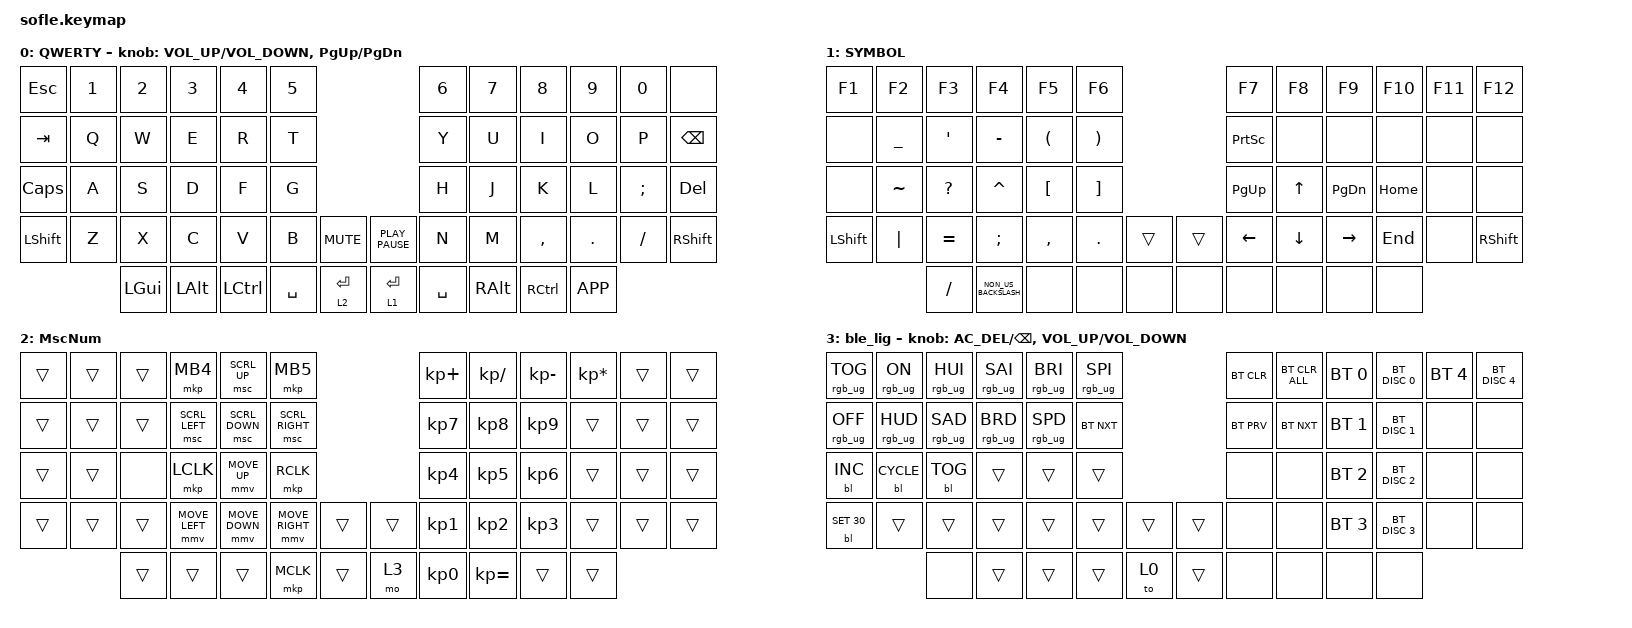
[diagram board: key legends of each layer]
/*
 * sofle.keymap
 *
 * Apenas definições de layers e bindings.
 * Hardware (underglow, backlight) → config/sofle.overlay
 * Kconfig                         → config/sofle.conf
 *
 * Controlador : SuperMini NRF52840 (nice_nano_v2 compat)
 * Shield      : Sofle RGB
 */

#include <dt-bindings/zmk/mouse.h>
#include <behaviors.dtsi>
#include <dt-bindings/zmk/backlight.h>
#include <dt-bindings/zmk/bt.h>
#include <dt-bindings/zmk/keys.h>
#include <dt-bindings/zmk/pointing.h>
#include <dt-bindings/zmk/rgb.h>

#define BASE 0
#define SYM  1
#define FUNC 2
#define MSE  3
#define ADJ  4

/ {
    keymap {
        compatible = "zmk,keymap";

        /* ── Layer 0 : QWERTY Base ─────────────────────────────── */

        layer_Qwerty {
            display-name = "QWERTY";
            bindings = <
&kp ESCAPE      &kp N1  &kp N2    &kp N3        &kp N4     &kp N5                                      &kp NUMBER_6  &kp N7     &kp N8     &kp N9      &kp N0         &none
&kp TAB         &kp Q   &kp W     &kp E         &kp R      &kp T                                       &kp Y         &kp U      &kp I      &kp O       &kp P          &kp BACKSPACE
&kp CLCK        &kp A   &kp S     &kp D         &kp F      &kp G                                       &kp H         &kp J      &kp K      &kp L       &kp SEMICOLON  &kp DEL
&kp LEFT_SHIFT  &kp Z   &kp X     &kp C         &kp V      &kp B      &kp C_MUTE     &kp K_PLAY_PAUSE  &kp N         &kp M      &kp COMMA  &kp PERIOD  &kp SLASH      &kp RIGHT_SHIFT
                        &kp LGUI  &kp LEFT_ALT  &kp LCTRL  &kp SPACE  &lt 2 ENTER    &lt 1 ENTER       &kp SPACE     &kp RALT  &kp RCTRL   &kp K_APP
            >;

            sensor-bindings =
                <&inc_dec_kp C_VOLUME_UP C_VOLUME_DOWN>,
                <&inc_dec_kp PAGE_UP PAGE_DOWN>;
        };

        /* ── Layer 1 : Symbols / Navigation ────────────────────── */

        layer_sym {
            display-name = "SYMBOL";
            bindings = <
&kp F1          &kp F2     &kp F3        &kp F4                &kp F5                &kp F6                                   &kp F7           &kp F8        &kp F9         &kp F10   &kp F11  &kp F12
&none           &kp UNDER  &kp SQT       &kp MINUS             &kp LEFT_PARENTHESIS  &kp RIGHT_PARENTHESIS                    &kp PRINTSCREEN  &none         &none          &none     &none    &none
&none           &kp TILDE  &kp QUESTION  &kp CARET             &kp LEFT_BRACKET      &kp RIGHT_BRACKET                        &kp PAGE_UP      &kp UP_ARROW  &kp PAGE_DOWN  &kp HOME  &none    &none
&kp LEFT_SHIFT  &kp PIPE   &kp EQUAL     &kp SEMICOLON         &kp COMMA             &kp PERIOD             &trans    &trans  &kp LEFT         &kp DOWN      &kp RIGHT      &kp END   &none    &kp RIGHT_SHIFT
                           &kp SLASH     &kp NON_US_BACKSLASH  &none                 &none                  &none     &none   &none            &none         &none          &none
            >;
        };

        /* ── Layer 2 : Mouse / Numpad ───────────────────────────── */

        layer_mscNum {
            display-name = "MscNum";
            bindings = <
&trans  &trans  &trans  &mkp MB4        &msc SCRL_UP    &mkp MB5                           &kp KP_PLUS      &kp KP_DIVIDE    &kp KP_SUBTRACT  &kp KP_MULTIPLY  &trans  &trans
&trans  &trans  &trans  &msc SCRL_LEFT  &msc SCRL_DOWN  &msc SCRL_RIGHT                    &kp KP_NUMBER_7  &kp KP_NUMBER_8  &kp KP_NUMBER_9  &trans           &trans  &trans
&trans  &trans  &none   &mkp LCLK       &mmv MOVE_UP    &mkp RCLK                          &kp KP_NUMBER_4  &kp KP_NUMBER_5  &kp KP_NUMBER_6  &trans           &trans  &trans
&trans  &trans  &trans  &mmv MOVE_LEFT  &mmv MOVE_DOWN  &mmv MOVE_RIGHT  &trans    &trans  &kp KP_NUMBER_1  &kp KP_NUMBER_2  &kp KP_NUMBER_3  &trans           &trans  &trans
                &trans  &trans          &trans          &mkp MCLK        &trans    &mo 3  &kp KP_NUMBER_0  &kp KP_EQUAL     &trans           &trans
            >;
        };

        /* ── Layer 3 : RGB / Bluetooth / Backlight ─────────────── */

        layer_bl_lg {
            display-name = "ble_lig";
            bindings = <
&rgb_ug RGB_TOG  &rgb_ug RGB_ON   &rgb_ug RGB_HUI  &rgb_ug RGB_SAI  &rgb_ug RGB_BRI  &rgb_ug RGB_SPI                    &bt BT_CLR  &bt BT_CLR_ALL  &bt BT_SEL 0  &bt BT_DISC 0  &bt BT_SEL 4  &bt BT_DISC 4
&rgb_ug RGB_OFF  &rgb_ug RGB_HUD  &rgb_ug RGB_SAD  &rgb_ug RGB_BRD  &rgb_ug RGB_SPD  &bt BT_NXT                         &bt BT_PRV  &bt BT_NXT      &bt BT_SEL 1  &bt BT_DISC 1  &none         &none
&bl BL_INC       &bl BL_CYCLE     &bl BL_TOG       &trans           &trans           &trans                             &none       &none           &bt BT_SEL 2  &bt BT_DISC 2  &none         &none
&bl BL_SET 30    &trans           &trans           &trans           &trans           &trans           &trans    &trans  &none       &none           &bt BT_SEL 3  &bt BT_DISC 3  &none         &none
                                  &none            &trans           &trans           &trans           &to 0     &trans  &none       &none           &none         &none
            >;

            sensor-bindings =
                <&inc_dec_kp C_AC_DEL BACKSPACE>,
                <&inc_dec_kp C_VOLUME_UP C_VOLUME_DOWN>;
        };
    };
};
